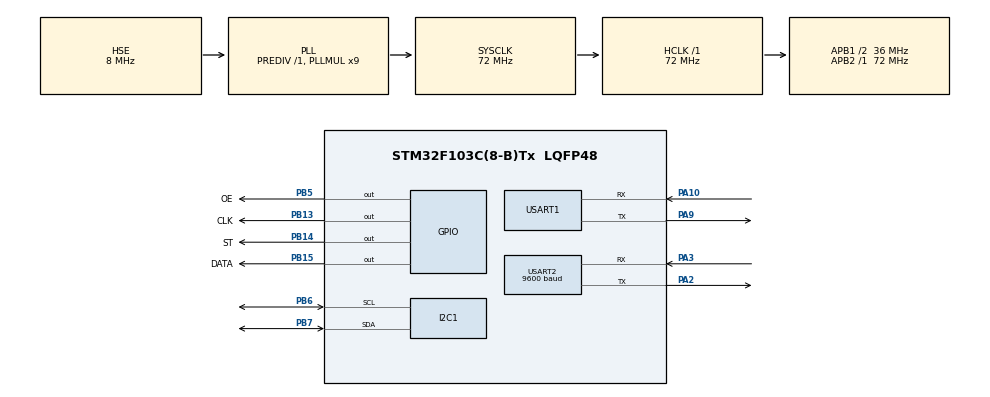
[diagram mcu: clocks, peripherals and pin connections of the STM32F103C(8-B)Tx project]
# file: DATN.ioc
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Mcu.Family=STM32F1
Mcu.Name=STM32F103C(8-B)Tx
Mcu.Package=LQFP48
NVIC.PriorityGroup=NVIC_PRIORITYGROUP_4
NVIC.TIM2_IRQn=true\:2\:0\:true\:false\:true\:true\:true\:true
NVIC.USART1_IRQn=true\:0\:0\:false\:false\:true\:true\:true\:true
NVIC.USART2_IRQn=true\:0\:0\:false\:false\:true\:true\:true\:true
PA10.Mode=Asynchronous
PA10.Signal=USART1_RX
PA13.Mode=Serial_Wire
PA13.Signal=SYS_JTMS-SWDIO
PA14.Mode=Serial_Wire
PA14.Signal=SYS_JTCK-SWCLK
PA2.Mode=Asynchronous
PA2.Signal=USART2_TX
PA3.Mode=Asynchronous
PA3.Signal=USART2_RX
PA9.Mode=Asynchronous
PA9.Signal=USART1_TX
PB13.GPIO_Label=CLK
PB13.GPIO_ModeDefaultOutputPP=GPIO_MODE_OUTPUT_OD
PB13.GPIO_PuPd=GPIO_NOPULL
PB13.Signal=GPIO_Output
PB14.GPIO_Label=ST
PB14.GPIO_ModeDefaultOutputPP=GPIO_MODE_OUTPUT_OD
PB14.GPIO_PuPd=GPIO_NOPULL
PB14.Signal=GPIO_Output
PB15.GPIO_Label=DATA
PB15.GPIO_ModeDefaultOutputPP=GPIO_MODE_OUTPUT_OD
PB15.GPIO_PuPd=GPIO_NOPULL
PB15.Signal=GPIO_Output
PB5.GPIO_Label=OE
PB5.Signal=GPIO_Output
PB6.Mode=I2C
PB6.Signal=I2C1_SCL
PB7.Mode=I2C
PB7.Signal=I2C1_SDA
PD0-OSC_IN.Mode=HSE-External-Oscillator
PD0-OSC_IN.Signal=RCC_OSC_IN
PD1-OSC_OUT.Mode=HSE-External-Oscillator
PD1-OSC_OUT.Signal=RCC_OSC_OUT
ProjectManager.HeapSize=0x200
ProjectManager.StackSize=0x400
ProjectManager.TargetToolchain=STM32CubeIDE
RCC.AHBFreq_Value=72000000
RCC.APB1CLKDivider=RCC_HCLK_DIV2
RCC.APB1Freq_Value=36000000
RCC.APB1TimFreq_Value=72000000
RCC.APB2Freq_Value=72000000
RCC.APB2TimFreq_Value=72000000
RCC.HCLKFreq_Value=72000000
RCC.PLLMUL=RCC_PLL_MUL9
RCC.PLLSourceVirtual=RCC_PLLSOURCE_HSE
RCC.SYSCLKFreq_VALUE=72000000
RCC.SYSCLKSource=RCC_SYSCLKSOURCE_PLLCLK
RCC.USBFreq_Value=72000000
TIM2.Period=1000
TIM2.Prescaler=35999
USART1.VirtualMode=VM_ASYNC
USART2.BaudRate=9600
USART2.VirtualMode=VM_ASYNC
VP_TIM2_VS_ClockSourceINT.Mode=Internal
board=custom

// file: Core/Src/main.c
/* USER CODE BEGIN Header */
/**
  ******************************************************************************
  * @file           : main.c
  * @brief          : Main program body
  ******************************************************************************
  * @attention
  *
  * Copyright (c) 2023 STMicroelectronics.
  * All rights reserved.
  *
  * This software is licensed under terms that can be found in the LICENSE file
  * in the root directory of this software component.
  * If no LICENSE file comes with this software, it is provided AS-IS.
  *
  ******************************************************************************
  */
/* USER CODE END Header */
#include "main.h"

/* USER CODE BEGIN Includes */
#include <string.h>
#include "stdio.h"
#include "SHT31.h"
#include "PMS7003.h"
#include "Flag.h"
#include "74HC595.h"
#include "LCD.h"

/* USER CODE END Includes */

/* USER CODE BEGIN PM */
#define FLAG_PMS_DONE (1<<0)
#define FLAG_TIMER_DONE (1<<0)
/* USER CODE END PM */

I2C_HandleTypeDef hi2c1;

TIM_HandleTypeDef htim2;

UART_HandleTypeDef huart1;
UART_HandleTypeDef huart2;

/* USER CODE BEGIN PV */
PMS7003 myPMS;
HC595 my595;
LCD myLCD;
uint16_t pm1p0;
uint16_t pm2p5;
uint16_t pm10;
FlagGroup_t flagSEN,flagTIMER;
uint32_t count;
uint8_t test595=0;
float temperature;
float humidity;
float CB[4];
/* USER CODE END PV */

void SystemClock_Config(void);
static void MX_GPIO_Init(void);
static void MX_I2C1_Init(void);
static void MX_USART1_UART_Init(void);
static void MX_USART2_UART_Init(void);
static void MX_TIM2_Init(void);
/* USER CODE BEGIN PFP */
void Flags_handle();
void turn_on_int();
void hc595_SetUp();
void PMS7003_SetUp();
void LCD_SetUp();
/* USER CODE END PFP */

/* USER CODE BEGIN 0 */
void HAL_UART_RxCpltCallback(UART_HandleTypeDef *huart)
{
	if (huart->Instance == USART2)
	{
		SETFLAG(flagSEN,FLAG_PMS_DONE);
//		PMS7003_receive(&myPMS);
	}
}

void HAL_TIM_PeriodElapsedCallback(TIM_HandleTypeDef *htim)
{
	 if(htim->Instance == htim2.Instance)
	 {
		 __HAL_TIM_SetCounter(&htim2, 0);
		 SETFLAG(flagTIMER,FLAG_TIMER_DONE);
	 }
}

/* USER CODE END 0 */

int main(void)
{

  /* MCU Configuration--------------------------------------------------------*/

  /* Reset of all peripherals, Initializes the Flash interface and the Systick. */
  HAL_Init();

  /* Configure the system clock */
  SystemClock_Config();

  /* Initialize all configured peripherals */
  MX_GPIO_Init();
  MX_I2C1_Init();
  MX_USART1_UART_Init();
  MX_USART2_UART_Init();
  MX_TIM2_Init();
  /* USER CODE BEGIN 2 */
  hc595_SetUp();
  PMS7003_SetUp();
  SHT31_Config(SHT31_ADDRESS_A, &hi2c1);
  LCD_SetUp();
  lcd_Init();
  lcd_Put_Cur(0,2);
  lcd_Send_String("DIEN");
  HAL_TIM_Base_Start_IT(&htim2);
  /* USER CODE END 2 */

  /* Infinite loop */
  /* USER CODE BEGIN WHILE */
  while (1)
  {
	  Flags_handle();
//	  lcd_Send_Data(&myLCD, "d");
    /* USER CODE END WHILE */

  }
}

void SystemClock_Config(void)
{
  RCC_OscInitTypeDef RCC_OscInitStruct = {0};
  RCC_ClkInitTypeDef RCC_ClkInitStruct = {0};

  /** Initializes the RCC Oscillators according to the specified parameters
  * in the RCC_OscInitTypeDef structure.
  */
  RCC_OscInitStruct.OscillatorType = RCC_OSCILLATORTYPE_HSE;
  RCC_OscInitStruct.HSEState = RCC_HSE_ON;
  RCC_OscInitStruct.HSEPredivValue = RCC_HSE_PREDIV_DIV1;
  RCC_OscInitStruct.HSIState = RCC_HSI_ON;
  RCC_OscInitStruct.PLL.PLLState = RCC_PLL_ON;
  RCC_OscInitStruct.PLL.PLLSource = RCC_PLLSOURCE_HSE;
  RCC_OscInitStruct.PLL.PLLMUL = RCC_PLL_MUL9;
  if (HAL_RCC_OscConfig(&RCC_OscInitStruct) != HAL_OK)
  {
    Error_Handler();
  }

  /** Initializes the CPU, AHB and APB buses clocks
  */
  RCC_ClkInitStruct.ClockType = RCC_CLOCKTYPE_HCLK|RCC_CLOCKTYPE_SYSCLK
                              |RCC_CLOCKTYPE_PCLK1|RCC_CLOCKTYPE_PCLK2;
  RCC_ClkInitStruct.SYSCLKSource = RCC_SYSCLKSOURCE_PLLCLK;
  RCC_ClkInitStruct.AHBCLKDivider = RCC_SYSCLK_DIV1;
  RCC_ClkInitStruct.APB1CLKDivider = RCC_HCLK_DIV2;
  RCC_ClkInitStruct.APB2CLKDivider = RCC_HCLK_DIV1;

  if (HAL_RCC_ClockConfig(&RCC_ClkInitStruct, FLASH_LATENCY_2) != HAL_OK)
  {
    Error_Handler();
  }
}

static void MX_I2C1_Init(void)
{

  hi2c1.Instance = I2C1;
  hi2c1.Init.ClockSpeed = 100000;
  hi2c1.Init.DutyCycle = I2C_DUTYCYCLE_2;
  hi2c1.Init.OwnAddress1 = 0;
  hi2c1.Init.AddressingMode = I2C_ADDRESSINGMODE_7BIT;
  hi2c1.Init.DualAddressMode = I2C_DUALADDRESS_DISABLE;
  hi2c1.Init.OwnAddress2 = 0;
  hi2c1.Init.GeneralCallMode = I2C_GENERALCALL_DISABLE;
  hi2c1.Init.NoStretchMode = I2C_NOSTRETCH_DISABLE;
  if (HAL_I2C_Init(&hi2c1) != HAL_OK)
  {
    Error_Handler();
  }

}

static void MX_TIM2_Init(void)
{

  TIM_ClockConfigTypeDef sClockSourceConfig = {0};
  TIM_MasterConfigTypeDef sMasterConfig = {0};

  htim2.Instance = TIM2;
  htim2.Init.Prescaler = 35999;
  htim2.Init.CounterMode = TIM_COUNTERMODE_UP;
  htim2.Init.Period = 1000;
  htim2.Init.ClockDivision = TIM_CLOCKDIVISION_DIV1;
  htim2.Init.AutoReloadPreload = TIM_AUTORELOAD_PRELOAD_DISABLE;
  if (HAL_TIM_Base_Init(&htim2) != HAL_OK)
  {
    Error_Handler();
  }
  sClockSourceConfig.ClockSource = TIM_CLOCKSOURCE_INTERNAL;
  if (HAL_TIM_ConfigClockSource(&htim2, &sClockSourceConfig) != HAL_OK)
  {
    Error_Handler();
  }
  sMasterConfig.MasterOutputTrigger = TIM_TRGO_RESET;
  sMasterConfig.MasterSlaveMode = TIM_MASTERSLAVEMODE_DISABLE;
  if (HAL_TIMEx_MasterConfigSynchronization(&htim2, &sMasterConfig) != HAL_OK)
  {
    Error_Handler();
  }

}

static void MX_USART1_UART_Init(void)
{

  huart1.Instance = USART1;
  huart1.Init.BaudRate = 115200;
  huart1.Init.WordLength = UART_WORDLENGTH_8B;
  huart1.Init.StopBits = UART_STOPBITS_1;
  huart1.Init.Parity = UART_PARITY_NONE;
  huart1.Init.Mode = UART_MODE_TX_RX;
  huart1.Init.HwFlowCtl = UART_HWCONTROL_NONE;
  huart1.Init.OverSampling = UART_OVERSAMPLING_16;
  if (HAL_UART_Init(&huart1) != HAL_OK)
  {
    Error_Handler();
  }

}

static void MX_USART2_UART_Init(void)
{

  huart2.Instance = USART2;
  huart2.Init.BaudRate = 9600;
  huart2.Init.WordLength = UART_WORDLENGTH_8B;
  huart2.Init.StopBits = UART_STOPBITS_1;
  huart2.Init.Parity = UART_PARITY_NONE;
  huart2.Init.Mode = UART_MODE_TX_RX;
  huart2.Init.HwFlowCtl = UART_HWCONTROL_NONE;
  huart2.Init.OverSampling = UART_OVERSAMPLING_16;
  if (HAL_UART_Init(&huart2) != HAL_OK)
  {
    Error_Handler();
  }

}

static void MX_GPIO_Init(void)
{
  GPIO_InitTypeDef GPIO_InitStruct = {0};

  /* GPIO Ports Clock Enable */
  __HAL_RCC_GPIOD_CLK_ENABLE();
  __HAL_RCC_GPIOA_CLK_ENABLE();
  __HAL_RCC_GPIOB_CLK_ENABLE();

  /*Configure GPIO pin Output Level */
  HAL_GPIO_WritePin(GPIOB, CLK_Pin|ST_Pin|DATA_Pin|OE_Pin, GPIO_PIN_RESET);

  /*Configure GPIO pins : CLK_Pin ST_Pin DATA_Pin */
  GPIO_InitStruct.Pin = CLK_Pin|ST_Pin|DATA_Pin;
  GPIO_InitStruct.Mode = GPIO_MODE_OUTPUT_OD;
  GPIO_InitStruct.Pull = GPIO_NOPULL;
  GPIO_InitStruct.Speed = GPIO_SPEED_FREQ_LOW;
  HAL_GPIO_Init(GPIOB, &GPIO_InitStruct);

  /*Configure GPIO pin : OE_Pin */
  GPIO_InitStruct.Pin = OE_Pin;
  GPIO_InitStruct.Mode = GPIO_MODE_OUTPUT_PP;
  GPIO_InitStruct.Pull = GPIO_NOPULL;
  GPIO_InitStruct.Speed = GPIO_SPEED_FREQ_LOW;
  HAL_GPIO_Init(OE_GPIO_Port, &GPIO_InitStruct);

}

/* USER CODE BEGIN 4 */
void Flags_handle()
{
	if (CHECKFLAG(flagSEN,FLAG_PMS_DONE))
	{
		pm1p0 = calculator(&myPMS, PM1p0);
		pm2p5 = calculator(&myPMS, PM2p5);
		pm10 = calculator(&myPMS, PM10);
		if(SHT31_GetData(SHT31_Periodic, SHT31_Medium, SHT31_NON_Stretch, SHT31_1) == SHT31_OK)
		{
			temperature = SHT31_GetTemperature();
			humidity = SHT31_GetHumidity();
		}
		CLEARFLAG(flagSEN,FLAG_PMS_DONE);
	}
	if (CHECKFLAG(flagTIMER,FLAG_TIMER_DONE))
	{
		turn_on_int();
		count++;
		CB[0]=(float)pm2p5;
		CB[1]=temperature;
		CB[2]=humidity;
		CLEARFLAG(flagTIMER,FLAG_TIMER_DONE);
	}
}

void turn_on_int()
{
	PMS7003_receive(&myPMS);
}

void hc595_SetUp()
{
	HC595_AssignPin(&my595, GPIOB, GPIO_PIN_13, HC595_CLK);
	HC595_AssignPin(&my595, GPIOB, GPIO_PIN_15, HC595_DS);
	HC595_AssignPin(&my595, GPIOB, GPIO_PIN_14, HC595_LATCH);
	HC595_AssignPin(&my595, GPIOB, GPIO_PIN_5,HC595_OE);
	HC595_Enable();
}

void PMS7003_SetUp()
{
	myPMS = newPMS7003();
	myPMS.hUARTx = &huart2;
	memset(myPMS.buffer,0,sizeof(myPMS.buffer));
	PMS7003_init_setmode(&myPMS,DATAL_active);
	PMS7003_start_receive(&myPMS);
}

void LCD_SetUp()
{
	LCD_AssignPin(&myLCD, 0, LCD_RS_PIN);
	LCD_AssignPin(&myLCD, 1, LCD_RW_PIN);
	LCD_AssignPin(&myLCD, 2, LCD_EN_PIN);
	LCD_AssignPin(&myLCD, 3, LCD_DB4);
	LCD_AssignPin(&myLCD, 4, LCD_DB5);
	LCD_AssignPin(&myLCD, 5, LCD_DB6);
	LCD_AssignPin(&myLCD, 6, LCD_DB7);
	LCD_AssignPin(&myLCD, 7, LCD_BL_PIN);
}
/* USER CODE END 4 */

void Error_Handler(void)
{
  __disable_irq();
  while (1)
  {
  }
}
